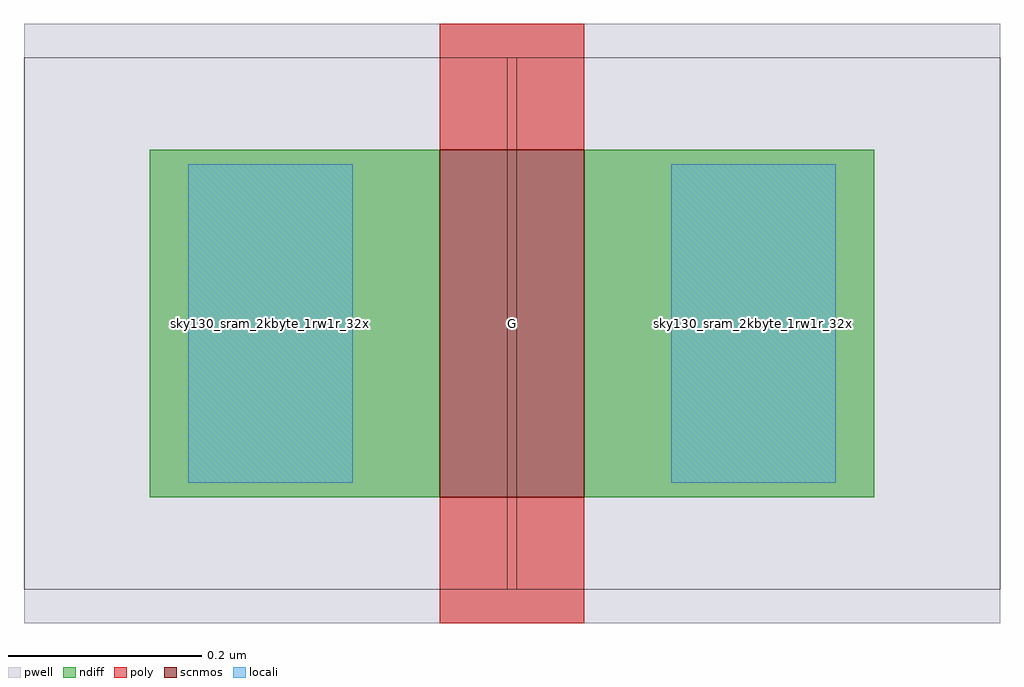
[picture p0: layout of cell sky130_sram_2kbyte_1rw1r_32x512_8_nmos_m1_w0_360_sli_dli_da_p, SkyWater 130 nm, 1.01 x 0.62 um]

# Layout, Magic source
magic
tech sky130A
magscale 1 2
<< pwell >>
rect -26 -26 176 98
<< scnmos >>
rect 60 0 90 72
<< ndiff >>
rect 0 0 60 72
rect 90 0 150 72
<< poly >>
rect 60 72 90 98
rect 60 -26 90 0
<< locali >>
rect 8 3 42 69
rect 108 3 142 69
use sky130_sram_2kbyte_1rw1r_32x512_8_contact_11  sky130_sram_2kbyte_1rw1r_32x512_8_contact_11_1
transform 1 0 0 0 1 3
box -26 -22 76 88
use sky130_sram_2kbyte_1rw1r_32x512_8_contact_11  sky130_sram_2kbyte_1rw1r_32x512_8_contact_11_0
transform 1 0 100 0 1 3
box -26 -22 76 88
<< labels >>
rlabel locali s 25 36 25 36 4 S
rlabel locali s 125 36 125 36 4 D
rlabel poly s 75 36 75 36 4 G
<< properties >>
string FIXED_BBOX -25 -26 175 98
<< end >>
